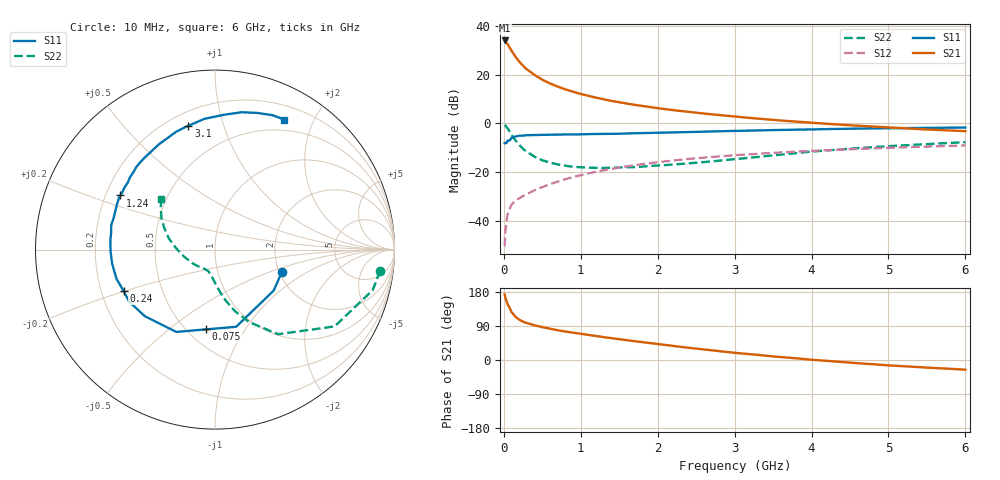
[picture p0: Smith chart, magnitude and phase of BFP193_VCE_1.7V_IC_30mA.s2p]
! Infineon Technologies  Discrete & RF Semiconductors
! BFP193
! VCE = 1.7 V,  IC =  30 mA
! Common Emitter S-Parameters:  Jan 2016
# GHz  S  MA  R  50
!  f  S11  S21  S12  S22
! GHz  MAG  ANG  MAG  ANG  MAG  ANG  MAG  ANG
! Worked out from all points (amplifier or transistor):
!   210 points, 10 MHz to 6 GHz, reference 50 ohm
!   highest |S21| = 34.1 dB at 10 MHz (marker M1)
!   |S21| within 3 dB of that: start of sweep to 76.75 MHz
!   unconditionally stable (mu >= 1): 598 MHz to 3.945 GHz
!   at 185 MHz: K = 0.60, MSG = 28.5 dB, |S12| = -31.1 dB
!   at 1.52 GHz: K = 1.08, MAG = 11.6 dB, |S12| = -18.0 dB
!   at 6 GHz: K = 0.94, MSG = 2.9 dB, |S12| = -9.0 dB
!   S11 on the Smith chart (normalised r, x): 10 MHz: 2.07, -0.61; 75 MHz: 0.62, -0.68; 240 MHz: 0.29, -0.20; 1.24 GHz: 0.26, +0.25; 3.1 GHz: 0.28, +0.77; 6 GHz: 0.36, +1.61
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0.01  0.3931 -18.4  50.62 172.8  0.003 85.3  0.9274 -7.3
0.02  0.3989 -35.0  48.61 164.5  0.006 79.1  0.9074 -14.4
0.05  0.4458 -74.7  42.34 146.3  0.0137 66.3  0.7922 -32.7
0.075  0.4471 -96.3  36.23 137.7  0.0174 59.9  0.6797 -41.4
0.1  0.507 -115.2  31.23 126.1  0.0213 55.8  0.5888 -53.2
0.15  0.5391 -136.5  23.45 113.9  0.0259 52.6  0.4488 -64.6
0.2  0.5588 -148.6  18.63 106.3  0.0289 51.9  0.3608 -72.0
0.24  0.5593 -155.6  15.87 102.2  0.0315 52.7  0.3106 -76.1
0.3  0.5723 -163.3  12.87 97.1  0.0353 54.7  0.2603 -81.1
0.36  0.5743 -168.8  11.04 94.1  0.0394 56.1  0.2273 -84.3
0.4  0.5786 -172.4  9.842 91.4  0.0422 56.9  0.2058 -87.0
0.5  0.5818 -178.9  7.896 86.6  0.0491 59.3  0.1746 -91.7
0.6  0.5851 175.4  6.627 82.3  0.0566 60.0  0.156 -95.7
0.7  0.5864 170.7  5.71 78.4  0.0635 60.5  0.1432 -99.5
1.02  0.5966 158.0  3.957 68.3  0.0877 60.5  0.1249 -109.4
1.24  0.6075 150.2  3.272 62.0  0.1047 58.9  0.1217 -116.4
1.6  0.6221 139.6  2.546 52.1  0.1313 55.6  0.1255 -127.1
2.02  0.6444 127.9  2.036 41.7  0.1608 50.7  0.1363 -140.4
3.1  0.7057 102.1  1.336 17.2  0.2269 37.1  0.1903 -173.3
4.1  0.7569 84.8  1.005 -0.7  0.2775 25.3  0.2711 164.6
5.1  0.7996 71.7  0.811 -15.3  0.3186 14.2  0.3476 149.0
6  0.821 61.9  0.693 -25.5  0.3528 4.6  0.4109 136.9
